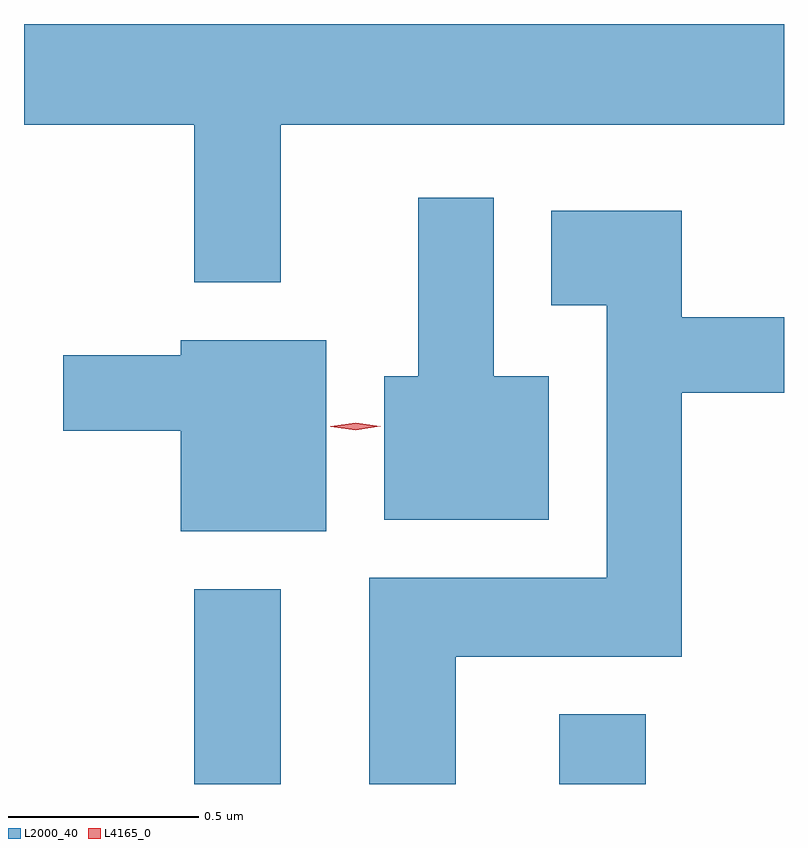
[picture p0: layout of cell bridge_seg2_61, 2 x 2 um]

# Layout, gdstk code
import gdstk
lib = gdstk.Library(unit=1e-6, precision=1e-09)
def R(c, l, rs):  # rectangles x0, y0, x1, y1
    for r in rs: c.add(gdstk.rectangle(r[:2], r[2:], *l))
def P(c, l, *ps):  # polygons
    for p in ps: c.add(gdstk.Polygon(p, *l))
L2000_40 = (2000, 40)
L4165_0 = (4165, 0)

bridge_seg2_61 = lib.new_cell('bridge_seg2_61')
R(bridge_seg2_61, L2000_40, [(1288.691,1066.561,1288.919,1067.074), (1289.651,1066.561,1289.879,1066.744)])
P(bridge_seg2_61, L2000_40, [(1288.919,1068.296),(1290.243,1068.296),(1290.243,1068.561),(1288.243,1068.561),(1288.243,1068.296),(1288.691,1068.296),(1288.691,1067.881),(1288.919,1067.881)],
  [(1289.624,1067.634),(1289.479,1067.634),(1289.479,1068.104),(1289.281,1068.104),(1289.281,1067.634),(1289.191,1067.634),(1289.191,1067.256),(1289.624,1067.256)],
  [(1289.379,1066.896),(1289.974,1066.896),(1289.974,1067.591),(1290.243,1067.591),(1290.243,1067.789),(1289.974,1067.789),(1289.974,1068.069),(1289.631,1068.069),(1289.631,1067.821),(1289.776,1067.821),(1289.776,1067.104),(1289.151,1067.104),(1289.151,1066.561),(1289.379,1066.561)],
  [(1289.039,1067.729),(1288.656,1067.729),(1288.656,1067.689),(1288.346,1067.689),(1288.346,1067.491),(1288.656,1067.491),(1288.656,1067.226),(1289.039,1067.226)])
P(bridge_seg2_61, L4165_0, [(1289.116,1067.492),(1289.05,1067.501),(1289.049,1067.502),(1289.05,1067.502),(1289.116,1067.512),(1289.181,1067.503),(1289.182,1067.502),(1289.181,1067.502)])

lib.write_gds('bridge_seg2_61.gds')
